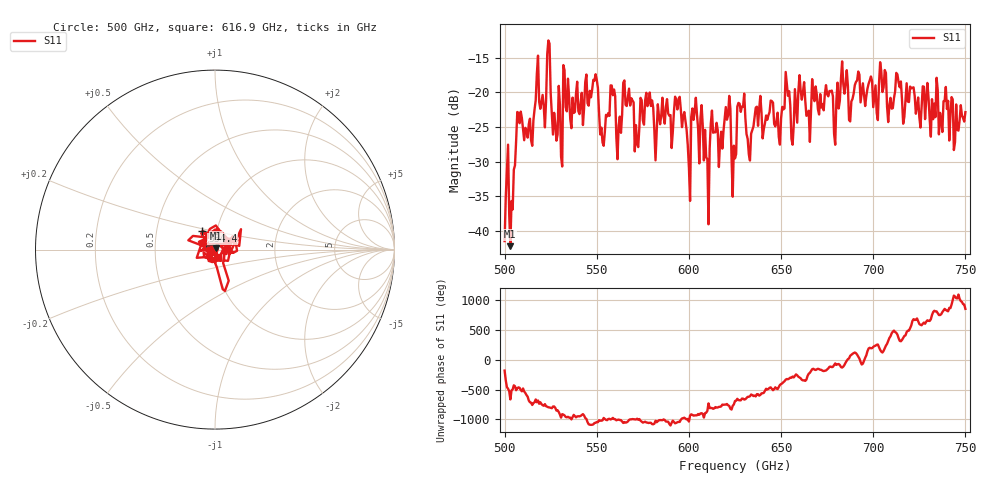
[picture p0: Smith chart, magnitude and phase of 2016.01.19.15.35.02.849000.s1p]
!Created with skrf (http://scikit-rf.org).
# GHz S RI R 50.0
!freq ReS11 ImS11
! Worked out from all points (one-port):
!   401 points, 500 GHz to 750 GHz, reference 50 ohm
!   lowest |S11| = -42.2 dB at 503.1 GHz (marker M1), VSWR 1.02, Z = 50.4 + j0.649 ohm
!   |S11| at or under -10 dB: start of sweep to end of sweep
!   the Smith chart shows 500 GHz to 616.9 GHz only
!   S11 on the Smith chart (normalised r, x): 500 GHz: 0.98, -0.00; 534.4 GHz: 0.85, +0.18; 616.9 GHz: 1.03, -0.08
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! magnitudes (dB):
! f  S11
! 500 GHz  -41.5
! 503.1 GHz  -42.2
! 508.1 GHz  -24.5
! 513.8 GHz  -23.8
! 523.8 GHz  -12.5
! 527.5 GHz  -24.5
! 531.2 GHz  -30.7
! 534.4 GHz  -18.0
! 549.4 GHz  -17.4
! 553.1 GHz  -27.2
! 558.8 GHz  -20.4
! 562.5 GHz  -23.5
! 565.6 GHz  -21.8
! 571.9 GHz  -27.5
! 593.8 GHz  -22.5
! 599.4 GHz  -27.6
! 603.1 GHz  -22.7
! 609.4 GHz  -29.4
! 616.9 GHz  -27.2
! 621.2 GHz  -23.3
! 625 GHz  -29.5
! 628.8 GHz  -22.0
! 632.5 GHz  -29.0
! 653.1 GHz  -18.8
! 656.2 GHz  -27.6
! 687.5 GHz  -24.2
! 718.8 GHz  -21.3
! 750 GHz  -22.9
